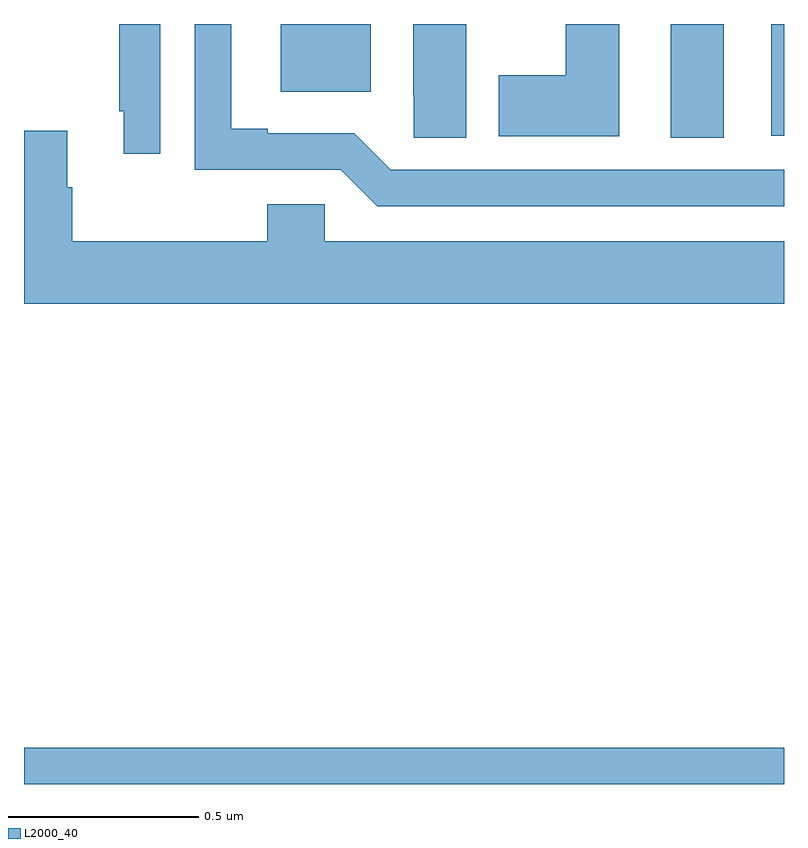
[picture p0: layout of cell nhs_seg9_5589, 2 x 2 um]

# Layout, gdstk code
import gdstk
lib = gdstk.Library(unit=1e-6, precision=1e-09)
def R(c, l, rs):  # rectangles x0, y0, x1, y1
    for r in rs: c.add(gdstk.rectangle(r[:2], r[2:], *l))
def P(c, l, *ps):  # polygons
    for p in ps: c.add(gdstk.Polygon(p, *l))
L2000_40 = (2000, 40)

nhs_seg9_5589 = lib.new_cell('nhs_seg9_5589')
R(nhs_seg9_5589, L2000_40, [(181,1184.5,183,1184.596), (182.702,1186.201,182.842,1186.5), (182.966,1186.206,183,1186.5), (181.676,1186.322,181.912,1186.5)])
P(nhs_seg9_5589, L2000_40, [(182.566,1186.5),(182.426,1186.5),(182.426,1186.365),(182.249,1186.365),(182.249,1186.205),(182.566,1186.205)],
  [(181.359,1186.5),(181.251,1186.5),(181.251,1186.27),(181.262,1186.27),(181.262,1186.158),(181.359,1186.158)],
  [(183,1186.116),(181.965,1186.116),(181.869,1186.212),(181.642,1186.212),(181.642,1186.225),(181.546,1186.225),(181.546,1186.5),(181.449,1186.5),(181.449,1186.116),(181.833,1186.116),(181.929,1186.02),(183,1186.02)],
  [(182.164,1186.5),(182.024,1186.5),(182.024,1186.312),(182.025,1186.312),(182.025,1186.201),(182.164,1186.201)],
  [(183,1185.928),(181.791,1185.928),(181.791,1186.026),(181.64,1186.026),(181.64,1185.928),(181.127,1185.928),(181.127,1186.07),(181.114,1186.07),(181.114,1186.219),(181,1186.219),(181,1185.764),(183,1185.764)])

lib.write_gds('nhs_seg9_5589.gds')
